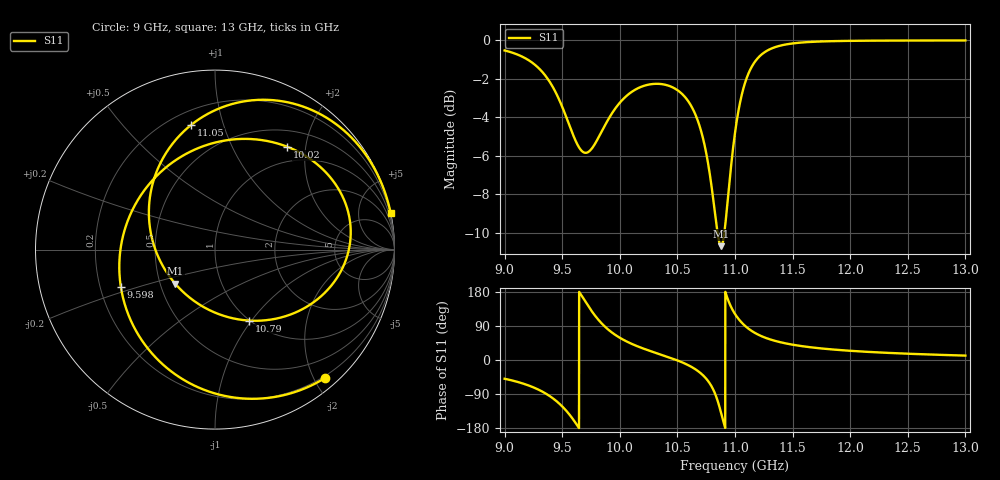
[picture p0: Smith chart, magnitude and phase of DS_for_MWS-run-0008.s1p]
! TOUCHSTONE file generated by CST DESIGN STUDIO
! Date and time: Tue Feb  4 14:40:45 2025
! Project name: C:\Work\MatlabApps\UnitCellOptimizationMatlab\CST\unitcell.cst
! Tree item: Tasks\Sweep1\SPara1\S-Parameters
! Header version: 2024
! Port assignment regex: !\s*Touchstone port\s*([0-9]+)\s*=\s*(CST MWS port|CST DES external port|CST DES block port)\s*(.+)\s* \(\"(.*)\"\)(\s*mode\s*([0-9]+))?.*
! Touchstone port assignment:
! Touchstone port 1 = CST DES external port 1 ("")
# GHz S MA R 50
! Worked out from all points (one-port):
!   4001 points, 9 GHz to 13 GHz, reference 50 ohm
!   lowest |S11| = -10.7 dB at 10.88 GHz (marker M1), VSWR 1.82, Z = 29.9 - j12.5 ohm
!   |S11| at or under -10 dB: 10.85 GHz to 10.91 GHz (58.67 MHz wide, 0.539 % of centre)
!   S11 on the Smith chart (normalised r, x): 9 GHz: 0.17, -2.16; 9.598 GHz: 0.29, -0.18; 10.02 GHz: 0.74, +1.67; 10.79 GHz: 1.00, -0.98; 11.05 GHz: 0.28, +0.79; 13 GHz: 0.01, +9.82
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9  0.9418 -49.5
9.167  0.9031 -62.9
9.319  0.8334 -82.1
9.415  0.7599 -100.2
9.5  0.6723 -122.5
9.598  0.5648 -158.1
9.688  0.5115 160.3
9.797  0.5466 112.4
9.888  0.6145 83.3
10  0.6887 58.7
10.022  0.7004 54.9
10.248  0.7674 25.4
10.5  0.7427 -1.1
10.66  0.6378 -25.3
10.724  0.5538 -40.9
10.786  0.4394 -64.2
10.834  0.3408 -94.3
10.879  0.2919 -139.2
10.94  0.393 158.3
11  0.5749 121.5
11.052  0.708 100.7
11.133  0.8405 79.1
11.248  0.9279 60.6
11.36  0.9632 49.5
11.5  0.9821 40.4
12  0.9975 24.3
12.5  0.9994 16.6
13  0.9998 11.6
